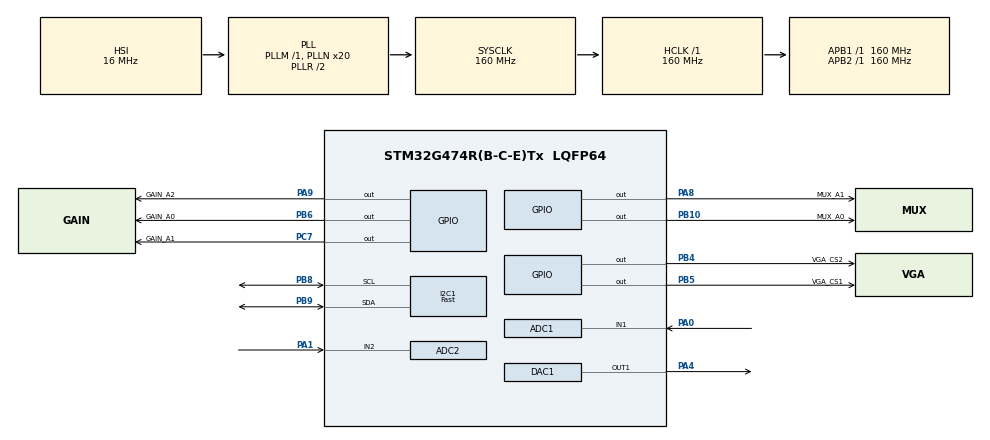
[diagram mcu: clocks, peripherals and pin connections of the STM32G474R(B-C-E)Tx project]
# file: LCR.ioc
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ADC1.Channel-0\#ChannelRegularConversion=ADC_CHANNEL_1
ADC1.DMAAccessModeView=ENABLE
ADC1.DMAContinuousRequests=ENABLE
ADC1.ExternalTrigConv=ADC_EXTERNALTRIG_T6_TRGO
ADC1.Mode=ADC_DUALMODE_REGSIMULT
ADC1.NbrOfConversionFlag=1
ADC1.OffsetNumber-0\#ChannelRegularConversion=ADC_OFFSET_NONE
ADC1.Rank-0\#ChannelRegularConversion=1
ADC1.SamplingTime-0\#ChannelRegularConversion=ADC_SAMPLETIME_24CYCLES_5
ADC1.master=1
ADC2.Channel-0\#ChannelRegularConversion=ADC_CHANNEL_2
ADC2.DMAAccessModeView=ENABLE
ADC2.Mode=ADC_DUALMODE_REGSIMULT
ADC2.NbrOfConversionFlag=1
ADC2.OffsetNumber-0\#ChannelRegularConversion=ADC_OFFSET_NONE
ADC2.Rank-0\#ChannelRegularConversion=1
ADC2.SamplingTime-0\#ChannelRegularConversion=ADC_SAMPLETIME_24CYCLES_5
DAC1.DAC_Trigger_OUT1-DAC_OUT1=DAC_TRIGGER_T6_TRGO
Dma.ADC1.1.Direction=DMA_PERIPH_TO_MEMORY
Dma.ADC1.1.EventEnable=DISABLE
Dma.ADC1.1.Instance=DMA1_Channel2
Dma.ADC1.1.MemDataAlignment=DMA_MDATAALIGN_WORD
Dma.ADC1.1.MemInc=DMA_MINC_ENABLE
Dma.ADC1.1.Mode=DMA_NORMAL
Dma.ADC1.1.PeriphDataAlignment=DMA_PDATAALIGN_WORD
Dma.ADC1.1.PeriphInc=DMA_PINC_DISABLE
Dma.ADC1.1.Polarity=HAL_DMAMUX_REQ_GEN_RISING
Dma.ADC1.1.Priority=DMA_PRIORITY_VERY_HIGH
Dma.ADC1.1.RequestNumber=1
Dma.ADC1.1.SignalID=NONE
Dma.ADC1.1.SyncEnable=DISABLE
Dma.ADC1.1.SyncPolarity=HAL_DMAMUX_SYNC_NO_EVENT
Dma.ADC1.1.SyncRequestNumber=1
Dma.ADC1.1.SyncSignalID=NONE
Dma.DAC1_CH1.0.Direction=DMA_MEMORY_TO_PERIPH
Dma.DAC1_CH1.0.EventEnable=DISABLE
Dma.DAC1_CH1.0.Instance=DMA1_Channel1
Dma.DAC1_CH1.0.MemDataAlignment=DMA_MDATAALIGN_HALFWORD
Dma.DAC1_CH1.0.MemInc=DMA_MINC_ENABLE
Dma.DAC1_CH1.0.Mode=DMA_CIRCULAR
Dma.DAC1_CH1.0.PeriphDataAlignment=DMA_PDATAALIGN_WORD
Dma.DAC1_CH1.0.PeriphInc=DMA_PINC_DISABLE
Dma.DAC1_CH1.0.Polarity=HAL_DMAMUX_REQ_GEN_RISING
Dma.DAC1_CH1.0.Priority=DMA_PRIORITY_HIGH
Dma.DAC1_CH1.0.RequestNumber=1
Dma.DAC1_CH1.0.SignalID=NONE
Dma.DAC1_CH1.0.SyncEnable=DISABLE
Dma.DAC1_CH1.0.SyncPolarity=HAL_DMAMUX_SYNC_NO_EVENT
Dma.DAC1_CH1.0.SyncRequestNumber=1
Dma.DAC1_CH1.0.SyncSignalID=NONE
Dma.Request0=DAC1_CH1
Dma.Request1=ADC1
I2C1.I2C_Speed_Mode=I2C_Fast
I2C1.Timing=0x10F32A82
Mcu.Family=STM32G4
Mcu.Name=STM32G474R(B-C-E)Tx
Mcu.Package=LQFP64
NUCLEO-G474RE.BUTTON=1
NUCLEO-G474RE.LD2=true
NUCLEO-G474RE.VCP=true
NVIC.DMA1_Channel1_IRQn=true\:0\:0\:false\:false\:true\:false\:true\:true
NVIC.DMA1_Channel2_IRQn=true\:0\:0\:false\:false\:true\:false\:true\:true
NVIC.EXTI15_10_IRQn=true\:0\:0\:false\:false\:true\:false\:true\:true
NVIC.PriorityGroup=NVIC_PRIORITYGROUP_4
PA0.Mode=IN1-Single-Ended
PA0.Signal=ADC1_IN1
PA1.Mode=IN2-Single-Ended
PA1.Signal=ADC2_IN2
PA13.GPIO_Label=T_SWDIO
PA13.Mode=Serial_Wire
PA13.Signal=SYS_JTMS-SWDIO
PA14.GPIO_Label=T_SWCLK
PA14.Mode=Serial_Wire
PA14.Signal=SYS_JTCK-SWCLK
PA2.Signal=LPUART1_TX
PA3.Signal=LPUART1_RX
PA4.Signal=COMP_DAC11_group
PA8.GPIO_Label=MUX_A1
PA8.PinState=GPIO_PIN_SET
PA8.Signal=GPIO_Output
PA9.GPIO_Label=GAIN_A2
PA9.GPIO_ModeDefaultOutputPP=GPIO_MODE_OUTPUT_OD
PA9.GPIO_PuPd=GPIO_NOPULL
PA9.Signal=GPIO_Output
PB10.GPIO_Label=MUX_A0
PB10.PinState=GPIO_PIN_SET
PB10.Signal=GPIO_Output
PB3.GPIO_Label=T_SWO
PB3.Signal=SYS_JTDO-SWO
PB4.GPIO_Label=VGA_CS2
PB4.GPIO_ModeDefaultOutputPP=GPIO_MODE_OUTPUT_OD
PB4.GPIO_PuPd=GPIO_NOPULL
PB4.PinState=GPIO_PIN_SET
PB4.Signal=GPIO_Output
PB5.GPIO_Label=VGA_CS1
PB5.GPIO_ModeDefaultOutputPP=GPIO_MODE_OUTPUT_OD
PB5.GPIO_PuPd=GPIO_NOPULL
PB5.PinState=GPIO_PIN_SET
PB5.Signal=GPIO_Output
PB6.GPIO_Label=GAIN_A0
PB6.GPIO_ModeDefaultOutputPP=GPIO_MODE_OUTPUT_OD
PB6.GPIO_PuPd=GPIO_NOPULL
PB6.Signal=GPIO_Output
PB8-BOOT0.Mode=I2C
PB8-BOOT0.Signal=I2C1_SCL
PB9.Mode=I2C
PB9.Signal=I2C1_SDA
PC14-OSC32_IN.GPIO_Label=RCC_OSC32_IN
PC14-OSC32_IN.Signal=RCC_OSC32_IN
PC15-OSC32_OUT.GPIO_Label=RCC_OSC32_OUT
PC15-OSC32_OUT.Signal=RCC_OSC32_OUT
PC7.GPIO_Label=GAIN_A1
PC7.GPIO_ModeDefaultOutputPP=GPIO_MODE_OUTPUT_OD
PC7.GPIO_PuPd=GPIO_NOPULL
PC7.Signal=GPIO_Output
PF0-OSC_IN.GPIO_Label=RCC_OSC_IN
PF0-OSC_IN.Mode=HSE-External-Oscillator
PF0-OSC_IN.Signal=RCC_OSC_IN
PF1-OSC_OUT.GPIO_Label=RCC_OSC_OUT
PF1-OSC_OUT.Mode=HSE-External-Oscillator
PF1-OSC_OUT.Signal=RCC_OSC_OUT
ProjectManager.HeapSize=0x200
ProjectManager.StackSize=0x400
ProjectManager.TargetToolchain=CMake
RCC.ADC12Freq_Value=160000000
RCC.ADC345Freq_Value=160000000
RCC.AHBFreq_Value=160000000
RCC.APB1Freq_Value=160000000
RCC.APB1TimFreq_Value=160000000
RCC.APB2Freq_Value=160000000
RCC.APB2TimFreq_Value=160000000
RCC.CortexFreq_Value=160000000
RCC.EXTERNAL_CLOCK_VALUE=12288000
RCC.HCLKFreq_Value=160000000
RCC.HSE_VALUE=24000000
RCC.HSI48_VALUE=48000000
RCC.HSI_VALUE=16000000
RCC.LSE_VALUE=32768
RCC.PLLN=20
RCC.RTCClockSelection=RCC_RTCCLKSOURCE_LSE
RCC.SYSCLKFreq_VALUE=160000000
RCC.SYSCLKSource=RCC_SYSCLKSOURCE_PLLCLK
RCC.USBFreq_Value=160000000
RCC.VCOOutputFreq_Value=320000000
SH.COMP_DAC11_group.0=DAC1_OUT1,DAC_OUT1
TIM6.AutoReloadPreload=TIM_AUTORELOAD_PRELOAD_ENABLE
TIM6.PeriodNoDither=499
TIM6.TIM_MasterOutputTrigger=TIM_TRGO_UPDATE
VP_NUCLEO-G474RE_VS_BSP_COMMON.Mode=COMMON
VP_SYS_VS_DBSignals.Mode=DisableDeadBatterySignals
VP_TIM6_VS_ClockSourceINT.Mode=Enable_Timer
board=NUCLEO-G474RE

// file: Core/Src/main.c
/* USER CODE BEGIN Header */
/**
  ******************************************************************************
  * @file           : main.c
  * @brief          : Main program body
  ******************************************************************************
  * @attention
  *
  * Copyright (c) 2026 STMicroelectronics.
  * All rights reserved.
  *
  * This software is licensed under terms that can be found in the LICENSE file
  * in the root directory of this software component.
  * If no LICENSE file comes with this software, it is provided AS-IS.
  *
  ******************************************************************************
  */
/* USER CODE END Header */
#include "main.h"
#include "adc.h"
#include "dac.h"
#include "dma.h"
#include "i2c.h"
#include "tim.h"
#include "gpio.h"

/* USER CODE BEGIN Includes */
#include <math.h>
#include <stdlib.h>

#include "lcr_autorange.h"
#include "lcr_100k_diagnostic.h"
#include "lcr_calibration.h"
#include "lcr_capture.h"
#include "lcr_component.h"
#include "lcr_display.h"
#include "lcr_dsp.h"
#include "lcr_excitation.h"
#include "lcr_impedance.h"
#include "lcr_measurement.h"
#include "lcr_range.h"
#include "lcr_result.h"
#include "lcr_workflow.h"

/* USER CODE END Includes */

/* USER CODE BEGIN PD */
#define LCR_CAPTURE_SETTLING_TIME_MS 10U
#define LCR_INTER_CAPTURE_TIME_MS 2U
#define LCR_PRIMARY_FREQUENCY_HZ 10000U
#define LCR_AMBIGUITY_FREQUENCY_HZ 1000U
#define LCR_INDUCTOR_FREQUENCY_HZ 50000U
#define LCR_INDUCTOR_SUSPECT_MIN_PHASE_MDEG 3000L
#define LCR_INDUCTOR_SUSPECT_MIN_X_MOHM 200L
#define LCR_INDUCTOR_SUSPECT_MAX_Z_MOHM 100000UL
#define LCR_VOLTAGE_THD_LIMIT_MILLIPERCENT 10000U
#define LCR_CURRENT_THD_LIMIT_MILLIPERCENT 10000U
#define LCR_CAPACITIVE_THD_MARGIN_MILLIPERCENT 3000U
#define LCR_CAPACITIVE_THD_MAX_MILLIPERCENT 30000U
#define LCR_CAPACITIVE_PHASE_MIN_MDEG 45000L
#define LCR_CAPACITIVE_PHASE_MAX_MDEG 135000L
#define LCR_INDUCTIVE_THD_MARGIN_MILLIPERCENT 3000U
#define LCR_INDUCTIVE_THD_MAX_MILLIPERCENT 30000U
#define LCR_INDUCTIVE_PHASE_MIN_MDEG (-170000L)
#define LCR_INDUCTIVE_PHASE_MAX_MDEG (-90000L)

#define LCR_QUALITY_VOLTAGE_RAIL       (1UL << 0)
#define LCR_QUALITY_CURRENT_RAIL       (1UL << 1)
#define LCR_QUALITY_VOLTAGE_NO_H1      (1UL << 2)
#define LCR_QUALITY_CURRENT_NO_H1      (1UL << 3)
#define LCR_QUALITY_VOLTAGE_THD_HIGH   (1UL << 4)
#define LCR_QUALITY_CURRENT_THD_HIGH   (1UL << 5)

/* USER CODE END PD */

COM_InitTypeDef BspCOMInit;

/* USER CODE BEGIN PV */
typedef enum
{
  LCR_SECONDARY_NONE = 0,
  LCR_SECONDARY_AMBIGUITY_1KHZ,
  LCR_SECONDARY_INDUCTOR_50KHZ
} LCR_SecondaryMode;

static volatile bool lcr_button_event = false;
static uint32_t lcr_last_button_tick;
static bool lcr_capture_scheduled;
static uint32_t lcr_capture_due_tick;
static uint32_t lcr_capture_deadline_tick;
static LCR_AutorangeSession lcr_autorange_session;
static LCR_MeasurementSession lcr_measurement_session;
static LCR_SecondaryMode lcr_secondary_mode;
static LCR_ImpedanceResult lcr_primary_impedance;
static uint32_t lcr_primary_frequency_hz;

/* USER CODE END PV */

void SystemClock_Config(void);
/* USER CODE BEGIN PFP */
static uint32_t LCR_EvaluateCaptureQuality(
  const LCR_CaptureSummary *summary,
  const LCR_DspCaptureResult *dsp_result,
  uint32_t *voltage_thd_limit_millipercent,
  uint32_t *current_thd_limit_millipercent);
static void LCR_PrintCaptureQuality(
  uint32_t quality_flags,
  const LCR_CaptureSummary *summary,
  const LCR_DspCaptureResult *dsp_result,
  uint32_t voltage_thd_limit_millipercent,
  uint32_t current_thd_limit_millipercent,
  bool autorange_probe);
static void LCR_PrintAutorangeReasons(uint32_t reason_flags);
static void LCR_PrintAutorangeSelection(
  const LCR_AutorangeEvaluation *evaluation);
static void LCR_PrintComponentResult(
  const LCR_ComponentResult *component,
  const char *source);
static void LCR_PrintUint64(uint64_t value);
static void LCR_ScheduleNextCaptureOrFinish(void);
static uint32_t LCR_GetCaptureTimeoutMs(void);
static void LCR_FailWorkflow(LCR_WorkflowError error);
static void LCR_PrintFinalResultSnapshot(void);
static void LCR_UpdateDisplayFromFinalResult(void);
static void LCR_UpdateDisplayMeasuring(uint32_t frequency_hz);
static bool LCR_IsSuspectedInductor(
  const LCR_ImpedanceResult *impedance);

/* USER CODE END PFP */

/* USER CODE BEGIN 0 */
static uint32_t LCR_GetCaptureTimeoutMs(void)
{
  LCR_ExcitationStatus excitation_status;
  uint64_t sample_rate_hz;
  uint64_t capture_time_ms;
  uint64_t timeout_ms;

  LCR_ExcitationGetStatus(&excitation_status);
  sample_rate_hz =
    (uint64_t)excitation_status.actual_frequency_hz *
    excitation_status.samples_per_period;
  if (sample_rate_hz == 0ULL)
  {
    return 1000U;
  }

  capture_time_ms =
    ((1000ULL * LCR_CAPTURE_SAMPLE_COUNT) + sample_rate_hz - 1ULL) /
    sample_rate_hz;
  timeout_ms = (capture_time_ms * 4ULL) + 20ULL;
  if (timeout_ms < 50ULL)
  {
    timeout_ms = 50ULL;
  }
  else if (timeout_ms > 1000ULL)
  {
    timeout_ms = 1000ULL;
  }
  return (uint32_t)timeout_ms;
}

static bool LCR_IsSuspectedInductor(
  const LCR_ImpedanceResult *impedance)
{
  return (impedance != NULL) && impedance->valid &&
         (impedance->reactance_milliohms >=
          LCR_INDUCTOR_SUSPECT_MIN_X_MOHM) &&
         (impedance->phase_millidegrees >=
          LCR_INDUCTOR_SUSPECT_MIN_PHASE_MDEG) &&
         (impedance->magnitude_milliohms <=
          LCR_INDUCTOR_SUSPECT_MAX_Z_MOHM);
}

static void LCR_FailWorkflow(LCR_WorkflowError error)
{
  LCR_MeasurementSummary measurement_summary;
  LCR_ExcitationStatus excitation_status;
  LCR_WorkflowStatus workflow_status;
  const uint32_t autorange_probe_count = lcr_autorange_session.probe_count;
  const HAL_StatusTypeDef capture_abort_status = LCR_CaptureAbort();
  const HAL_StatusTypeDef excitation_stop_status = LCR_ExcitationStop();

  LCR_MeasurementGetSummary(&lcr_measurement_session, &measurement_summary);
  LCR_ExcitationGetStatus(&excitation_status);
  LCR_ResultStoreMeasurement(
    LCR_WorkflowIsConfirmation(),
    excitation_status.actual_frequency_hz,
    autorange_probe_count,
    &measurement_summary);
  LCR_ResultFail(error);
  lcr_capture_scheduled = false;
  lcr_capture_deadline_tick = 0U;
  LCR_MeasurementCancel(&lcr_measurement_session);
  LCR_AutorangeCancel(&lcr_autorange_session);
  lcr_secondary_mode = LCR_SECONDARY_NONE;
  BSP_LED_Off(LED_GREEN);
  LCR_WorkflowFail(error);
  LCR_WorkflowGetStatus(&workflow_status);
  printf("[LCR] measurement state=%s; code=%s; capture_abort_HAL=%u; excitation_stop_HAL=%u\r\n",
         LCR_WorkflowStateName(workflow_status.state),
         LCR_WorkflowErrorName(workflow_status.last_error),
         (unsigned int)capture_abort_status,
         (unsigned int)excitation_stop_status);
  printf("[LCR] terminal context retained: completed_attempts=%lu eligible=%lu ineligible=%lu autorange_probes=%lu; any incomplete DMA capture is explicitly excluded\r\n",
         (unsigned long)measurement_summary.attempt_count,
         (unsigned long)measurement_summary.eligible_count,
         (unsigned long)measurement_summary.ineligible_count,
         (unsigned long)autorange_probe_count);
  LCR_PrintFinalResultSnapshot();
  LCR_UpdateDisplayFromFinalResult();
}

static void LCR_PrintFinalResultSnapshot(void)
{
  LCR_FinalResult result;

  LCR_ResultGet(&result);
  printf("[LCR] result snapshot: seq=%lu state=%s error=%s primary=%s secondary=%s component=%s\r\n",
         (unsigned long)result.sequence_id,
         LCR_ResultStateName(result.state),
         LCR_WorkflowErrorName(result.error),
         result.primary.present ? "yes" : "no",
         result.secondary.present ? "yes" : "no",
         result.component_valid ? "yes" : "no");
}

static void LCR_UpdateDisplayFromFinalResult(void)
{
  LCR_FinalResult result;
  HAL_StatusTypeDef display_status;

  if (!LCR_DisplayIsReady())
  {
    return;
  }

  LCR_ResultGet(&result);
  display_status = LCR_DisplayShowResult(&result);
  if (display_status != HAL_OK)
  {
    printf("[LCR] OLED final-screen update failed: HAL=%u\r\n",
           (unsigned int)display_status);
  }
}

static void LCR_UpdateDisplayMeasuring(uint32_t frequency_hz)
{
  HAL_StatusTypeDef display_status;

  if (!LCR_DisplayIsReady())
  {
    return;
  }

  display_status = LCR_DisplayShowMeasuring(frequency_hz);
  if (display_status != HAL_OK)
  {
    printf("[LCR] OLED measuring-screen update failed: HAL=%u\r\n",
           (unsigned int)display_status);
  }
}

static uint32_t LCR_EvaluateCaptureQuality(
  const LCR_CaptureSummary *summary,
  const LCR_DspCaptureResult *dsp_result,
  uint32_t *voltage_thd_limit_millipercent,
  uint32_t *current_thd_limit_millipercent)
{
  uint32_t flags = 0U;
  uint32_t voltage_thd_limit = LCR_VOLTAGE_THD_LIMIT_MILLIPERCENT;
  uint32_t current_thd_limit = LCR_CURRENT_THD_LIMIT_MILLIPERCENT;
  LCR_RangeStatus range_status;

  LCR_RangeGetStatus(&range_status);

  /*
   * A capacitor differentiates the excitation waveform.  Its nth current
   * harmonic is therefore expected to be about n times the corresponding
   * voltage harmonic.  A fixed resistor-oriented I-THD limit would reject a
   * physically consistent capacitive waveform (observed at 10 nF: V THD
   * about 7.5%, I THD about 17.5%).  Derive a bounded allowance only when the
   * measured V/I phase is clearly capacitive; resistive and inductive samples
   * retain the original 10% limit, preserving rejection of bad resistor data.
   */
  if (dsp_result->voltage.fundamental_valid &&
      dsp_result->current.fundamental_valid &&
      (dsp_result->voltage_minus_current_millidegrees >=
       LCR_CAPACITIVE_PHASE_MIN_MDEG) &&
      (dsp_result->voltage_minus_current_millidegrees <=
       LCR_CAPACITIVE_PHASE_MAX_MDEG))
  {
    float expected_harmonic_power = 0.0f;
    uint32_t harmonic;

    for (harmonic = 2U; harmonic <= LCR_DSP_MAX_HARMONIC; ++harmonic)
    {
      const float expected_ratio =
        (float)harmonic *
        (float)dsp_result->voltage.harmonic_ratio_millipercent[harmonic];

      expected_harmonic_power += expected_ratio * expected_ratio;
    }
    {
      const uint32_t expected_thd =
        (uint32_t)(sqrtf(expected_harmonic_power) + 0.5f);
      uint32_t derived_limit = expected_thd +
        LCR_CAPACITIVE_THD_MARGIN_MILLIPERCENT;

      if (derived_limit < LCR_CURRENT_THD_LIMIT_MILLIPERCENT)
      {
        derived_limit = LCR_CURRENT_THD_LIMIT_MILLIPERCENT;
      }
      if (derived_limit > LCR_CAPACITIVE_THD_MAX_MILLIPERCENT)
      {
        derived_limit = LCR_CAPACITIVE_THD_MAX_MILLIPERCENT;
      }
      current_thd_limit = derived_limit;
    }
  }

  /*
   * An inductor differentiates current into terminal voltage.  On the
   * preferred low-impedance 100 ohm/1 kOhm feedback profiles, the nth voltage harmonic is
   * therefore expected to be about n times the corresponding current
   * harmonic.  Apply the symmetric bounded allowance only when the raw
   * bridge phase is clearly inductive; this keeps resistor profiles on the
   * original 10% V-THD limit.
   */
  if (((range_status.feedback_range == LCR_FEEDBACK_100_OHM) ||
       (range_status.feedback_range == LCR_FEEDBACK_1K_OHM)) &&
      dsp_result->voltage.fundamental_valid &&
      dsp_result->current.fundamental_valid &&
      (dsp_result->voltage_minus_current_millidegrees >=
       LCR_INDUCTIVE_PHASE_MIN_MDEG) &&
      (dsp_result->voltage_minus_current_millidegrees <=
       LCR_INDUCTIVE_PHASE_MAX_MDEG))
  {
    float expected_harmonic_power = 0.0f;
    uint32_t harmonic;

    for (harmonic = 2U; harmonic <= LCR_DSP_MAX_HARMONIC; ++harmonic)
    {
      const float expected_ratio =
        (float)harmonic *
        (float)dsp_result->current.harmonic_ratio_millipercent[harmonic];

      expected_harmonic_power += expected_ratio * expected_ratio;
    }
    {
      const uint32_t expected_thd =
        (uint32_t)(sqrtf(expected_harmonic_power) + 0.5f);
      uint32_t derived_limit = expected_thd +
        LCR_INDUCTIVE_THD_MARGIN_MILLIPERCENT;

      if (derived_limit < LCR_VOLTAGE_THD_LIMIT_MILLIPERCENT)
      {
        derived_limit = LCR_VOLTAGE_THD_LIMIT_MILLIPERCENT;
      }
      if (derived_limit > LCR_INDUCTIVE_THD_MAX_MILLIPERCENT)
      {
        derived_limit = LCR_INDUCTIVE_THD_MAX_MILLIPERCENT;
      }
      voltage_thd_limit = derived_limit;
    }
  }

  if (voltage_thd_limit_millipercent != NULL)
  {
    *voltage_thd_limit_millipercent = voltage_thd_limit;
  }

  if (current_thd_limit_millipercent != NULL)
  {
    *current_thd_limit_millipercent = current_thd_limit;
  }

  if (summary->voltage.near_rail_count != 0U)
  {
    flags |= LCR_QUALITY_VOLTAGE_RAIL;
  }
  if (summary->current.near_rail_count != 0U)
  {
    flags |= LCR_QUALITY_CURRENT_RAIL;
  }
  if (!dsp_result->voltage.fundamental_valid)
  {
    flags |= LCR_QUALITY_VOLTAGE_NO_H1;
  }
  if (!dsp_result->current.fundamental_valid)
  {
    flags |= LCR_QUALITY_CURRENT_NO_H1;
  }
  if (dsp_result->voltage.fundamental_valid &&
      (dsp_result->voltage.thd_millipercent >
       voltage_thd_limit))
  {
    flags |= LCR_QUALITY_VOLTAGE_THD_HIGH;
  }
  if (dsp_result->current.fundamental_valid &&
      (dsp_result->current.thd_millipercent >
       current_thd_limit))
  {
    flags |= LCR_QUALITY_CURRENT_THD_HIGH;
  }

  return flags;
}

static void LCR_PrintCaptureQuality(
  uint32_t quality_flags,
  const LCR_CaptureSummary *summary,
  const LCR_DspCaptureResult *dsp_result,
  uint32_t voltage_thd_limit_millipercent,
  uint32_t current_thd_limit_millipercent,
  bool autorange_probe)
{
  if (quality_flags == 0U)
  {
    if (autorange_probe)
    {
      printf("[LCR] sample quality=VALID; retained=yes; eligible_for_average=no; reason=AUTORANGE_PROBE\r\n");
    }
    else
    {
      printf("[LCR] sample quality=VALID; retained=yes; eligible_for_average=yes\r\n");
    }
    if (current_thd_limit_millipercent >
        LCR_CURRENT_THD_LIMIT_MILLIPERCENT)
    {
      printf("[LCR] quality model=CAPACITIVE_HARMONIC; I_THD limit=%lu.%03lu%% derived from V harmonics plus margin\r\n",
             (unsigned long)(current_thd_limit_millipercent / 1000U),
             (unsigned long)(current_thd_limit_millipercent % 1000U));
    }
    if (voltage_thd_limit_millipercent >
        LCR_VOLTAGE_THD_LIMIT_MILLIPERCENT)
    {
      printf("[LCR] quality model=INDUCTIVE_HARMONIC; V_THD limit=%lu.%03lu%% derived from I harmonics plus margin\r\n",
             (unsigned long)(voltage_thd_limit_millipercent / 1000U),
             (unsigned long)(voltage_thd_limit_millipercent % 1000U));
    }
    return;
  }

  printf("[LCR] sample quality=SUSPECT; retained=yes; eligible_for_average=no\r\n");
  printf("[LCR] quality reasons:");
  if ((quality_flags & LCR_QUALITY_VOLTAGE_RAIL) != 0U)
  {
    printf(" V_RAIL(samples=%lu)",
           (unsigned long)summary->voltage.near_rail_count);
  }
  if ((quality_flags & LCR_QUALITY_CURRENT_RAIL) != 0U)
  {
    printf(" I_RAIL(samples=%lu)",
           (unsigned long)summary->current.near_rail_count);
  }
  if ((quality_flags & LCR_QUALITY_VOLTAGE_NO_H1) != 0U)
  {
    printf(" V_H1_INVALID");
  }
  if ((quality_flags & LCR_QUALITY_CURRENT_NO_H1) != 0U)
  {
    printf(" I_H1_INVALID");
  }
  if ((quality_flags & LCR_QUALITY_VOLTAGE_THD_HIGH) != 0U)
  {
    printf(" V_THD=%lu.%03lu%%>%lu.%03lu%%",
           (unsigned long)(dsp_result->voltage.thd_millipercent / 1000U),
           (unsigned long)(dsp_result->voltage.thd_millipercent % 1000U),
           (unsigned long)(voltage_thd_limit_millipercent / 1000U),
           (unsigned long)(voltage_thd_limit_millipercent % 1000U));
  }
  if ((quality_flags & LCR_QUALITY_CURRENT_THD_HIGH) != 0U)
  {
    printf(" I_THD=%lu.%03lu%%>%lu.%03lu%%",
           (unsigned long)(dsp_result->current.thd_millipercent / 1000U),
           (unsigned long)(dsp_result->current.thd_millipercent % 1000U),
           (unsigned long)(current_thd_limit_millipercent / 1000U),
           (unsigned long)(current_thd_limit_millipercent % 1000U));
  }
  printf("\r\n");
}

static void LCR_PrintAutorangeReasons(uint32_t reason_flags)
{
  printf("[LCR] autorange reasons:");
  if ((reason_flags & LCR_AUTORANGE_REASON_V_LOW) != 0U)
  {
    printf(" V_TOO_LOW");
  }
  if ((reason_flags & LCR_AUTORANGE_REASON_V_HIGH) != 0U)
  {
    printf(" V_TOO_HIGH");
  }
  if ((reason_flags & LCR_AUTORANGE_REASON_I_LOW) != 0U)
  {
    printf(" I_TOO_LOW");
  }
  if ((reason_flags & LCR_AUTORANGE_REASON_I_HIGH) != 0U)
  {
    printf(" I_TOO_HIGH");
  }
  if ((reason_flags & LCR_AUTORANGE_REASON_V_LIMIT) != 0U)
  {
    printf(" V_RANGE_LIMIT");
  }
  if ((reason_flags & LCR_AUTORANGE_REASON_I_LIMIT) != 0U)
  {
    printf(" I_RANGE_LIMIT_OR_OPEN");
  }
  if ((reason_flags & LCR_AUTORANGE_REASON_APPLY_FAILED) != 0U)
  {
    printf(" RANGE_APPLY_FAILED");
  }
  if ((reason_flags & LCR_AUTORANGE_REASON_MAX_ADJUSTMENT) != 0U)
  {
    printf(" MAX_ADJUSTMENTS");
  }
  if ((reason_flags & LCR_AUTORANGE_REASON_V_THD_HIGH) != 0U)
  {
    printf(" V_THD_HIGH");
  }
  if ((reason_flags & LCR_AUTORANGE_REASON_I_THD_HIGH) != 0U)
  {
    printf(" I_THD_HIGH");
  }
  if (reason_flags == 0U)
  {
    printf(" SIGNALS_IN_WINDOW");
  }
  printf("\r\n");
}

static void LCR_PrintAutorangeSelection(
  const LCR_AutorangeEvaluation *evaluation)
{
  const LCR_FeedbackNetwork *previous_feedback = LCR_GetFeedbackNetwork(
    evaluation->previous_range.feedback_range);
  const LCR_FeedbackNetwork *selected_feedback = LCR_GetFeedbackNetwork(
    evaluation->selected_range.feedback_range);

  if ((previous_feedback == NULL) || (selected_feedback == NULL))
  {
    return;
  }

  printf("[LCR] autorange selection: feedback %lu->%lu ohm, V gain %lu->%lu, I gain %lu->%lu, amplitude %u->%u\r\n",
         (unsigned long)previous_feedback->resistance_ohms,
         (unsigned long)selected_feedback->resistance_ohms,
         (unsigned long)LCR_GetPgaGainValue(
           evaluation->previous_range.voltage_gain),
         (unsigned long)LCR_GetPgaGainValue(
           evaluation->selected_range.voltage_gain),
         (unsigned long)LCR_GetPgaGainValue(
           evaluation->previous_range.current_gain),
         (unsigned long)LCR_GetPgaGainValue(
           evaluation->selected_range.current_gain),
         (unsigned int)evaluation->previous_amplitude,
         (unsigned int)evaluation->selected_amplitude);
}

static void LCR_PrintComponentResult(
  const LCR_ComponentResult *component,
  const char *source)
{
  if ((component == NULL) || (source == NULL))
  {
    return;
  }

  if (component->type == LCR_COMPONENT_RESISTOR)
  {
    printf("[LCR] component result: type=R, R=%ld.%03lu ohm, f=%lu Hz, source=%s\r\n",
           (long)(component->series_resistance_milliohms / 1000L),
           (unsigned long)labs(
             component->series_resistance_milliohms % 1000L),
           (unsigned long)component->parameter_frequency_hz,
           source);
  }
  else if (component->type == LCR_COMPONENT_CAPACITOR)
  {
    printf("[LCR] component result: type=C, C=");
    LCR_PrintUint64(component->capacitance_picofarads);
    printf(" pF, ESR=%ld.%03lu ohm, f=%lu Hz, source=%s\r\n",
           (long)(component->series_resistance_milliohms / 1000L),
           (unsigned long)labs(
             component->series_resistance_milliohms % 1000L),
           (unsigned long)component->parameter_frequency_hz,
           source);
  }
  else if (component->type == LCR_COMPONENT_INDUCTOR)
  {
    printf("[LCR] component result: type=L, L=");
    LCR_PrintUint64(component->inductance_nanohenries);
    printf(" nH, series_R=%ld.%03lu ohm, f=%lu Hz, source=%s\r\n",
           (long)(component->series_resistance_milliohms / 1000L),
           (unsigned long)labs(
             component->series_resistance_milliohms % 1000L),
           (unsigned long)component->parameter_frequency_hz,
           source);
  }
  else
  {
    printf("[LCR] component result: type=UNKNOWN, source=%s; ambiguity remains\r\n",
           source);
  }
}

static void LCR_PrintUint64(uint64_t value)
{
  char decimal[21];
  uint32_t index = sizeof(decimal) - 1U;

  decimal[index] = '\0';
  do
  {
    decimal[--index] = (char)('0' + (value % 10ULL));
    value /= 10ULL;
  }
  while ((value != 0ULL) && (index != 0U));
  printf("%s", &decimal[index]);
}

static void LCR_ScheduleNextCaptureOrFinish(void)
{
  if (LCR_MeasurementIsComplete(&lcr_measurement_session))
  {
    LCR_MeasurementSummary measurement_summary;
    const HAL_StatusTypeDef stop_status = LCR_ExcitationStop();
    bool confirmation_started = false;

    LCR_MeasurementGetSummary(
      &lcr_measurement_session,
      &measurement_summary);
    lcr_capture_scheduled = false;
    BSP_LED_Off(LED_GREEN);
    printf("[LCR] measurement summary: attempts=%lu eligible=%lu ineligible=%lu retained=%lu outliers=%lu\r\n",
           (unsigned long)measurement_summary.attempt_count,
           (unsigned long)measurement_summary.eligible_count,
           (unsigned long)measurement_summary.ineligible_count,
           (unsigned long)measurement_summary.retained_count,
           (unsigned long)measurement_summary.outlier_count);
    if (stop_status != HAL_OK)
    {
      printf("[LCR] excitation stop failed at measurement boundary: HAL=%u\r\n",
             (unsigned int)stop_status);
      LCR_FailWorkflow(LCR_WORKFLOW_ERROR_EXCITATION_CONTROL);
      return;
    }
    if (!measurement_summary.average_valid)
    {
      printf("[LCR] average unavailable: fewer than %u valid samples in %u attempts, or too few samples remained after outlier rejection\r\n",
             (unsigned int)LCR_MEASUREMENT_MIN_VALID_COUNT,
             (unsigned int)LCR_MEASUREMENT_MAX_ATTEMPT_COUNT);
      if (lcr_secondary_mode != LCR_SECONDARY_NONE)
      {
        printf("[LCR] multi-frequency confirmation unavailable because secondary average is invalid\r\n");
        LCR_FailWorkflow(LCR_WORKFLOW_ERROR_CONFIRMATION_INVALID);
      }
      else
      {
        LCR_FailWorkflow(LCR_WORKFLOW_ERROR_NO_ELIGIBLE_SAMPLES);
      }
      return;
    }
    else
    {
      LCR_ExcitationStatus excitation_status;
      LCR_ComponentResult component;

      printf("[LCR] average %s Z: R=%ld.%03lu ohm, X=%ld.%03lu ohm, |Z|=%lu.%03lu ohm, phase=%ld.%03lu deg\r\n",
             measurement_summary.average_is_calibrated ?
               "CALIBRATED" : "RAW/UNCALIBRATED",
             (long)(measurement_summary.average.resistance_milliohms / 1000L),
             (unsigned long)labs(
               measurement_summary.average.resistance_milliohms % 1000L),
             (long)(measurement_summary.average.reactance_milliohms / 1000L),
             (unsigned long)labs(
               measurement_summary.average.reactance_milliohms % 1000L),
             (unsigned long)(measurement_summary.average.magnitude_milliohms / 1000U),
             (unsigned long)(measurement_summary.average.magnitude_milliohms % 1000U),
              (long)(measurement_summary.average.phase_millidegrees / 1000L),
              (unsigned long)labs(
                measurement_summary.average.phase_millidegrees % 1000L));
      LCR_ExcitationGetStatus(&excitation_status);
      LCR_ResultStoreMeasurement(
        lcr_secondary_mode != LCR_SECONDARY_NONE,
        excitation_status.actual_frequency_hz,
        lcr_autorange_session.probe_count,
        &measurement_summary);
      if (LCR_ComponentClassify(
            &measurement_summary.average,
            excitation_status.actual_frequency_hz,
            &component) == HAL_OK)
      {
        LCR_PrintComponentResult(
          &component,
          (lcr_secondary_mode != LCR_SECONDARY_NONE) ?
            "secondary-valid-sample-average" :
            "primary-valid-sample-average");

        if (lcr_secondary_mode == LCR_SECONDARY_INDUCTOR_50KHZ)
        {
          if ((component.type != LCR_COMPONENT_INDUCTOR) ||
              !component.parameter_valid ||
              (component.parameter_frequency_hz !=
               LCR_INDUCTOR_FREQUENCY_HZ))
          {
            printf("[LCR] 50 kHz formal measurement did not confirm an inductor\r\n");
            LCR_FailWorkflow(LCR_WORKFLOW_ERROR_CONFIRMATION_INVALID);
            return;
          }

          printf("[LCR] inductor result accepted from 50 kHz formal measurement; 10 kHz data was coarse-detection only\r\n");
          LCR_ResultComplete(&component);
          lcr_secondary_mode = LCR_SECONDARY_NONE;
        }
        else if (lcr_secondary_mode == LCR_SECONDARY_AMBIGUITY_1KHZ)
        {
          LCR_ComponentResult confirmed_component;

          printf("[LCR] multi-frequency pair: primary=%lu Hz, secondary=%lu Hz\r\n",
                 (unsigned long)lcr_primary_frequency_hz,
                 (unsigned long)excitation_status.actual_frequency_hz);
          if (LCR_ComponentConfirm(
                &lcr_primary_impedance,
                lcr_primary_frequency_hz,
                &measurement_summary.average,
                excitation_status.actual_frequency_hz,
                &confirmed_component) == HAL_OK)
          {
            LCR_PrintComponentResult(
              &confirmed_component,
              "two-frequency-consistency-check");
            LCR_ResultComplete(&confirmed_component);
          }
          else
          {
            printf("[LCR] multi-frequency confirmation calculation failed\r\n");
            LCR_FailWorkflow(LCR_WORKFLOW_ERROR_CONFIRMATION_INVALID);
            return;
          }
          lcr_secondary_mode = LCR_SECONDARY_NONE;
        }
        else if ((stop_status == HAL_OK) &&
                 (LCR_IsSuspectedInductor(
                    &measurement_summary.average) ||
                  ((component.type == LCR_COMPONENT_UNKNOWN) &&
                   (excitation_status.actual_frequency_hz !=
                    LCR_AMBIGUITY_FREQUENCY_HZ))))
        {
          HAL_StatusTypeDef confirmation_status;
          uint32_t secondary_frequency_hz;

          lcr_primary_impedance = measurement_summary.average;
          lcr_primary_frequency_hz =
            excitation_status.actual_frequency_hz;
          if (LCR_IsSuspectedInductor(&measurement_summary.average))
          {
            lcr_secondary_mode = LCR_SECONDARY_INDUCTOR_50KHZ;
            secondary_frequency_hz = LCR_INDUCTOR_FREQUENCY_HZ;
            printf("[LCR] 10 kHz coarse result is inductive; starting dedicated 50 kHz formal measurement\r\n");
          }
          else
          {
            lcr_secondary_mode = LCR_SECONDARY_AMBIGUITY_1KHZ;
            secondary_frequency_hz = LCR_AMBIGUITY_FREQUENCY_HZ;
          }
          confirmation_status = LCR_SetFrequency(
            secondary_frequency_hz);
          if (confirmation_status == HAL_OK)
          {
            confirmation_status = LCR_AutorangeBegin(
              &lcr_autorange_session);
          }
          if (confirmation_status == HAL_OK)
          {
            confirmation_status = LCR_ExcitationStart();
          }

          if (confirmation_status == HAL_OK)
          {
            LCR_ExcitationStatus confirmation_excitation;

            LCR_WorkflowBeginConfirmation();
            LCR_ExcitationGetStatus(&confirmation_excitation);
            LCR_UpdateDisplayMeasuring(
              confirmation_excitation.actual_frequency_hz);
            BSP_LED_On(LED_GREEN);
            lcr_capture_due_tick =
              HAL_GetTick() + LCR_CAPTURE_SETTLING_TIME_MS;
            lcr_capture_scheduled = true;
            confirmation_started = true;
            printf("[LCR] starting automatic %lu Hz secondary measurement\r\n",
                   (unsigned long)confirmation_excitation.actual_frequency_hz);
            printf("[LCR] confirmation autorange probe scheduled after %u ms settling\r\n",
                   (unsigned int)LCR_CAPTURE_SETTLING_TIME_MS);
          }
          else
          {
            printf("[LCR] automatic frequency confirmation start failed: HAL=%u\r\n",
                   (unsigned int)confirmation_status);
            LCR_FailWorkflow(LCR_WORKFLOW_ERROR_CONFIRMATION_START);
            return;
          }
        }
        else
        {
          LCR_ResultComplete(&component);
        }
      }
      else
      {
        printf("[LCR] component classification unavailable\r\n");
        LCR_FailWorkflow(
          (lcr_secondary_mode != LCR_SECONDARY_NONE) ?
            LCR_WORKFLOW_ERROR_CONFIRMATION_INVALID :
            LCR_WORKFLOW_ERROR_DFT);
        return;
      }
    }
    if (confirmation_started)
    {
      return;
    }
    LCR_WorkflowComplete();
    {
      LCR_WorkflowStatus workflow_status;

      LCR_WorkflowGetStatus(&workflow_status);
      printf("[LCR] measurement state=%s; code=%s\r\n",
             LCR_WorkflowStateName(workflow_status.state),
             LCR_WorkflowErrorName(workflow_status.last_error));
    }
    LCR_PrintFinalResultSnapshot();
    LCR_UpdateDisplayFromFinalResult();
    printf("[LCR] excitation stopped automatically: HAL=%u\r\n",
           (unsigned int)stop_status);
  }
  else if (LCR_MeasurementIsActive(&lcr_measurement_session))
  {
    lcr_capture_due_tick = HAL_GetTick() + LCR_INTER_CAPTURE_TIME_MS;
    lcr_capture_scheduled = true;
    printf("[LCR] next capture scheduled after %u ms\r\n",
           (unsigned int)LCR_INTER_CAPTURE_TIME_MS);
  }
}

/* USER CODE END 0 */

int main(void)
{

  /* MCU Configuration--------------------------------------------------------*/

  /* Reset of all peripherals, Initializes the Flash interface and the Systick. */
  HAL_Init();

  /* Configure the system clock */
  SystemClock_Config();

  /* Initialize all configured peripherals */
  MX_GPIO_Init();
  MX_DMA_Init();
  MX_DAC1_Init();
  MX_ADC1_Init();
  MX_ADC2_Init();
  MX_TIM6_Init();
  MX_I2C1_Init();

  /* Initialize led */
  BSP_LED_Init(LED_GREEN);

  /* Initialize USER push-button, will be used to trigger an interrupt each time it's pressed.*/
  BSP_PB_Init(BUTTON_USER, BUTTON_MODE_EXTI);

  /* Initialize COM1 port (115200, 8 bits (7-bit data + 1 stop bit), no parity */
  BspCOMInit.BaudRate   = 115200;
  BspCOMInit.WordLength = COM_WORDLENGTH_8B;
  BspCOMInit.StopBits   = COM_STOPBITS_1;
  BspCOMInit.Parity     = COM_PARITY_NONE;
  BspCOMInit.HwFlowCtl  = COM_HWCONTROL_NONE;
  if (BSP_COM_Init(COM1, &BspCOMInit) != BSP_ERROR_NONE)
  {
    Error_Handler();
  }

  /* Infinite loop */
  /* USER CODE BEGIN WHILE */
  if (LCR_ExcitationInit() != HAL_OK)
  {
    printf("\r\n[LCR] excitation initialization failed\r\n");
    Error_Handler();
  }
  if (LCR_RangeInit() != HAL_OK)
  {
    printf("\r\n[LCR] range initialization failed\r\n");
    Error_Handler();
  }
  if (LCR_CaptureInit() != HAL_OK)
  {
    printf("\r\n[LCR] ADC calibration failed: error=0x%08lX\r\n",
           (unsigned long)LCR_CaptureGetLastError());
    Error_Handler();
  }
  if (LCR_SelectFeedbackRange(LCR_FEEDBACK_100_OHM) != HAL_OK)
  {
    printf("\r\n[LCR] safe 100 ohm feedback selection failed\r\n");
    Error_Handler();
  }
  if (LCR_SetCurrentGain(LCR_PGA_GAIN_1X) != HAL_OK)
  {
    printf("\r\n[LCR] current PGA 1x selection failed\r\n");
    Error_Handler();
  }
  LCR_WorkflowInit();
  LCR_ResultInit();
  (void)LCR_100kDiagnosticRun(false);
  {
    LCR_DisplayProbeStatus display_probe;

    if (LCR_DisplayProbe(&display_probe) == HAL_OK)
    {
      if (display_probe.detected_address_7bit != 0U)
      {
        const HAL_StatusTypeDef display_init_status = LCR_DisplayInit(
          display_probe.detected_address_7bit);
        HAL_StatusTypeDef display_ready_status = HAL_ERROR;

        if (display_init_status == HAL_OK)
        {
          display_ready_status = LCR_DisplayShowReady();
        }
        printf("[LCR] OLED at 0x%02X: SSD1306 128x64 init HAL=%u, ready screen HAL=%u\r\n",
               (unsigned int)display_probe.detected_address_7bit,
               (unsigned int)display_init_status,
               (unsigned int)display_ready_status);
      }
      else
      {
        printf("[LCR] OLED I2C probe: no response at 0x3C or 0x3D; display remains disabled\r\n");
      }
    }
    else
    {
      printf("[LCR] OLED I2C probe failed; display remains disabled\r\n");
    }
  }

  lcr_last_button_tick = HAL_GetTick() - 200U;
  BSP_LED_Off(LED_GREEN);
  {
    LCR_ExcitationStatus status;
    LCR_RangeStatus range_status;
    const LCR_FeedbackNetwork *feedback;

    LCR_ExcitationGetStatus(&status);
    LCR_RangeGetStatus(&range_status);
    feedback = LCR_GetFeedbackNetwork(range_status.feedback_range);
    printf("\r\n[LCR] stage 3 DFT self-test ready\r\n");
    printf("[LCR] DAC=PA4, points=%lu, requested=%lu Hz, actual=%lu Hz, amplitude=%u counts\r\n",
           (unsigned long)status.samples_per_period,
           (unsigned long)status.requested_frequency_hz,
           (unsigned long)status.actual_frequency_hz,
           (unsigned int)status.amplitude);
    printf("[LCR] feedback=%lu ohm // %lu.%lu pF, V gain=%lu, I gain=%lu\r\n",
           (unsigned long)feedback->resistance_ohms,
           (unsigned long)(feedback->capacitance_tenths_pf / 10U),
           (unsigned long)(feedback->capacitance_tenths_pf % 10U),
           (unsigned long)LCR_GetPgaGainValue(range_status.voltage_gain),
           (unsigned long)LCR_GetPgaGainValue(range_status.current_gain));
    printf("[LCR] ADC mapping: low16=ADC1/PA0/V_AMP, high16=ADC2/PA1/I_AMP\r\n");
    printf("[LCR] autorange H1 target=%lu.%03lu..%lu.%03lu counts; p2p auxiliary low=%u, clip=%u; max adjustments=%u\r\n",
           (unsigned long)(LCR_AUTORANGE_MIN_H1_MILLI_COUNTS / 1000U),
           (unsigned long)(LCR_AUTORANGE_MIN_H1_MILLI_COUNTS % 1000U),
           (unsigned long)(LCR_AUTORANGE_MAX_H1_MILLI_COUNTS / 1000U),
           (unsigned long)(LCR_AUTORANGE_MAX_H1_MILLI_COUNTS % 1000U),
           (unsigned int)LCR_AUTORANGE_MIN_AUX_P2P_COUNTS,
           (unsigned int)LCR_AUTORANGE_MAX_P2P_COUNTS,
           (unsigned int)LCR_AUTORANGE_MAX_ADJUSTMENTS);
    printf("[LCR] general autorange current PGA maximum=%lux; all four feedback profiles remain candidates at every measurement frequency\r\n",
           (unsigned long)LCR_GetPgaGainValue(
             LCR_AUTORANGE_MAX_CURRENT_GAIN));
    printf("[LCR] frequency profiles: 1/10 kHz use 64 points; up to 25 kHz use 32; 50 kHz high-frequency profile uses 16\r\n");
    printf("[LCR] inductor flow: 10 kHz coarse classification, then 50 kHz formal measurement; V/I/R use the common autorange algorithm\r\n");
    printf("[LCR] output is stopped; press PC13 to autorange, then collect %u valid samples in at most %u captures of %u pairs\r\n",
           (unsigned int)LCR_MEASUREMENT_MIN_VALID_COUNT,
           (unsigned int)LCR_MEASUREMENT_MAX_ATTEMPT_COUNT,
           (unsigned int)LCR_CAPTURE_SAMPLE_COUNT);
  }

  while (1)
  {

    /* USER CODE END WHILE */

    /* USER CODE BEGIN 3 */
    if (lcr_button_event)
    {
      const uint32_t now = HAL_GetTick();

      lcr_button_event = false;
      if ((uint32_t)(now - lcr_last_button_tick) >= 150U)
      {
        LCR_ExcitationStatus status;
        HAL_StatusTypeDef operation_status;

        lcr_last_button_tick = now;
        LCR_ExcitationGetStatus(&status);
        if (status.running)
        {
          operation_status = LCR_ExcitationStop();
        }
        else
        {
          lcr_secondary_mode = LCR_SECONDARY_NONE;
          LCR_ResultBegin();
          operation_status = LCR_SetFrequency(
            LCR_PRIMARY_FREQUENCY_HZ);
          if (operation_status == HAL_OK)
          {
            operation_status = LCR_AutorangeBegin(&lcr_autorange_session);
          }
          if (operation_status == HAL_OK)
          {
            operation_status = LCR_ExcitationStart();
          }
        }
        LCR_ExcitationGetStatus(&status);

        if (operation_status == HAL_OK)
        {
          if (status.running)
          {
            LCR_MeasurementCancel(&lcr_measurement_session);
            LCR_WorkflowBeginPrimary();
            LCR_UpdateDisplayMeasuring(status.actual_frequency_hz);
            BSP_LED_On(LED_GREEN);
            lcr_capture_due_tick = now + LCR_CAPTURE_SETTLING_TIME_MS;
            lcr_capture_scheduled = true;
            printf("[LCR] excitation started: %lu Hz, amplitude=%u counts\r\n",
                   (unsigned long)status.actual_frequency_hz,
                   (unsigned int)status.amplitude);
            printf("[LCR] autorange started from feedback=100 ohm, V gain=1, I gain=1\r\n");
            printf("[LCR] autorange probe scheduled after %u ms settling\r\n",
                   (unsigned int)LCR_CAPTURE_SETTLING_TIME_MS);
          }
          else
          {
            LCR_MeasurementSummary measurement_summary;

            lcr_capture_scheduled = false;
            (void)LCR_CaptureAbort();
            BSP_LED_Off(LED_GREEN);
            LCR_MeasurementGetSummary(
              &lcr_measurement_session,
              &measurement_summary);
            LCR_MeasurementCancel(&lcr_measurement_session);
            LCR_AutorangeCancel(&lcr_autorange_session);
            lcr_secondary_mode = LCR_SECONDARY_NONE;
            LCR_ResultStoreMeasurement(
              LCR_WorkflowIsConfirmation(),
              status.actual_frequency_hz,
              lcr_autorange_session.probe_count,
              &measurement_summary);
            LCR_ResultAbort();
            LCR_WorkflowAbort();
            printf("[LCR] measurement aborted by user: attempts=%lu eligible=%lu; autorange_probes=%lu\r\n",
                   (unsigned long)measurement_summary.attempt_count,
                   (unsigned long)measurement_summary.eligible_count,
                   (unsigned long)lcr_autorange_session.probe_count);
            printf("[LCR] measurement state=ABORTED; code=NONE\r\n");
            LCR_PrintFinalResultSnapshot();
            LCR_UpdateDisplayFromFinalResult();
            printf("[LCR] excitation stopped\r\n");
          }
        }
        else
        {
          printf("[LCR] excitation start/stop failed: HAL status=%u\r\n",
                 (unsigned int)operation_status);
          LCR_FailWorkflow(LCR_WORKFLOW_ERROR_AUTORANGE);
        }
      }
    }

    if (lcr_capture_scheduled &&
        ((int32_t)(HAL_GetTick() - lcr_capture_due_tick) >= 0))
    {
      const HAL_StatusTypeDef capture_status = LCR_CaptureStart();

      lcr_capture_scheduled = false;
      if (capture_status == HAL_OK)
      {
        const uint32_t capture_timeout_ms = LCR_GetCaptureTimeoutMs();

        lcr_capture_deadline_tick = HAL_GetTick() + capture_timeout_ms;
        if (LCR_AutorangeIsSearching(&lcr_autorange_session))
        {
          printf("[LCR] autorange probe %lu started; timeout=%lu ms\r\n",
                 (unsigned long)(lcr_autorange_session.probe_count + 1U),
                 (unsigned long)capture_timeout_ms);
        }
        else
        {
          LCR_MeasurementSummary measurement_summary;

          LCR_MeasurementGetSummary(
            &lcr_measurement_session,
            &measurement_summary);
          printf("[LCR] dual ADC capture %lu/%u started; timeout=%lu ms\r\n",
                 (unsigned long)(measurement_summary.attempt_count + 1U),
                 (unsigned int)LCR_MEASUREMENT_MAX_ATTEMPT_COUNT,
                 (unsigned long)capture_timeout_ms);
        }
      }
      else
      {
        printf("[LCR] dual ADC capture start failed: HAL=%u, error=0x%08lX\r\n",
               (unsigned int)capture_status,
               (unsigned long)LCR_CaptureGetLastError());
        LCR_FailWorkflow(LCR_WORKFLOW_ERROR_ADC_START);
      }
    }

    if ((LCR_CaptureGetState() == LCR_CAPTURE_RUNNING) &&
        ((int32_t)(HAL_GetTick() - lcr_capture_deadline_tick) >= 0))
    {
      printf("[LCR] dual ADC capture timed out: deadline=%lu ms, error=0x%08lX\r\n",
             (unsigned long)lcr_capture_deadline_tick,
             (unsigned long)LCR_CaptureGetLastError());
      LCR_FailWorkflow(LCR_WORKFLOW_ERROR_ADC_TIMEOUT);
    }

    if ((LCR_CaptureGetState() == LCR_CAPTURE_COMPLETE) ||
        (LCR_CaptureGetState() == LCR_CAPTURE_ERROR))
    {
      LCR_CaptureSummary summary;
      const HAL_StatusTypeDef capture_status = LCR_CaptureProcess(&summary);

      if (capture_status == HAL_OK)
      {
        LCR_DspCaptureResult dsp_result;
        LCR_ImpedanceResult measurement_result = {0};
        const bool autorange_probe =
          LCR_AutorangeIsSearching(&lcr_autorange_session);
        bool dsp_result_available = false;
        bool measurement_result_available = false;
        bool measurement_result_calibrated = false;
        bool measurement_result_eligible = false;
        bool autorange_voltage_thd_ok = false;
        bool autorange_current_thd_ok = false;

        lcr_capture_deadline_tick = 0U;

        printf("[LCR] capture complete: %lu sample pairs\r\n",
               (unsigned long)summary.sample_count);
        printf("[LCR] V ADC1/PA0: first=%u last=%u min=%u max=%u mean=%u p2p=%u rail=%lu\r\n",
               (unsigned int)summary.voltage.first,
               (unsigned int)summary.voltage.last,
               (unsigned int)summary.voltage.minimum,
               (unsigned int)summary.voltage.maximum,
               (unsigned int)summary.voltage.mean,
               (unsigned int)summary.voltage.peak_to_peak,
               (unsigned long)summary.voltage.near_rail_count);
        printf("[LCR] I ADC2/PA1: first=%u last=%u min=%u max=%u mean=%u p2p=%u rail=%lu\r\n",
               (unsigned int)summary.current.first,
               (unsigned int)summary.current.last,
               (unsigned int)summary.current.minimum,
               (unsigned int)summary.current.maximum,
               (unsigned int)summary.current.mean,
               (unsigned int)summary.current.peak_to_peak,
               (unsigned long)summary.current.near_rail_count);

        {
          LCR_ExcitationStatus dsp_excitation_status;

          LCR_ExcitationGetStatus(&dsp_excitation_status);
          if (LCR_DspAnalyzeCapture(
              dsp_excitation_status.samples_per_period,
              &dsp_result) == HAL_OK)
          {
          uint32_t voltage_thd_limit_millipercent;
          uint32_t current_thd_limit_millipercent;
          const uint32_t quality_flags = LCR_EvaluateCaptureQuality(
            &summary,
            &dsp_result,
            &voltage_thd_limit_millipercent,
            &current_thd_limit_millipercent);

          dsp_result_available = true;
          measurement_result_eligible = quality_flags == 0U;
          autorange_voltage_thd_ok =
            (quality_flags & LCR_QUALITY_VOLTAGE_THD_HIGH) == 0U;
          autorange_current_thd_ok =
            (quality_flags & LCR_QUALITY_CURRENT_THD_HIGH) == 0U;

          printf("[LCR] V H1=%lu.%03lu counts phase=%ld.%03lu deg THD2-5=%lu.%03lu%%\r\n",
                 (unsigned long)(dsp_result.voltage.bin[1].magnitude_milli_counts / 1000U),
                 (unsigned long)(dsp_result.voltage.bin[1].magnitude_milli_counts % 1000U),
                 (long)(dsp_result.voltage.bin[1].phase_millidegrees / 1000L),
                 (unsigned long)labs(dsp_result.voltage.bin[1].phase_millidegrees % 1000L),
                 (unsigned long)(dsp_result.voltage.thd_millipercent / 1000U),
                 (unsigned long)(dsp_result.voltage.thd_millipercent % 1000U));
          printf("[LCR] V harmonics: H2=%lu.%03lu%% H3=%lu.%03lu%% H4=%lu.%03lu%% H5=%lu.%03lu%%\r\n",
                 (unsigned long)(dsp_result.voltage.harmonic_ratio_millipercent[2] / 1000U),
                 (unsigned long)(dsp_result.voltage.harmonic_ratio_millipercent[2] % 1000U),
                 (unsigned long)(dsp_result.voltage.harmonic_ratio_millipercent[3] / 1000U),
                 (unsigned long)(dsp_result.voltage.harmonic_ratio_millipercent[3] % 1000U),
                 (unsigned long)(dsp_result.voltage.harmonic_ratio_millipercent[4] / 1000U),
                 (unsigned long)(dsp_result.voltage.harmonic_ratio_millipercent[4] % 1000U),
                 (unsigned long)(dsp_result.voltage.harmonic_ratio_millipercent[5] / 1000U),
                 (unsigned long)(dsp_result.voltage.harmonic_ratio_millipercent[5] % 1000U));
          LCR_PrintCaptureQuality(
            quality_flags,
            &summary,
            &dsp_result,
            voltage_thd_limit_millipercent,
            current_thd_limit_millipercent,
            autorange_probe);
          if (dsp_result.current.fundamental_valid)
          {
            LCR_ExcitationStatus excitation_status;
            LCR_RangeStatus range_status;
            LCR_ImpedanceResult impedance;
            const LCR_FeedbackNetwork *feedback;

            printf("[LCR] I H1=%lu.%03lu counts phase=%ld.%03lu deg THD2-5=%lu.%03lu%%\r\n",
                   (unsigned long)(dsp_result.current.bin[1].magnitude_milli_counts / 1000U),
                   (unsigned long)(dsp_result.current.bin[1].magnitude_milli_counts % 1000U),
                   (long)(dsp_result.current.bin[1].phase_millidegrees / 1000L),
                   (unsigned long)labs(dsp_result.current.bin[1].phase_millidegrees % 1000L),
                   (unsigned long)(dsp_result.current.thd_millipercent / 1000U),
                   (unsigned long)(dsp_result.current.thd_millipercent % 1000U));
            printf("[LCR] V-I phase=%ld.%03lu deg\r\n",
                   (long)(dsp_result.voltage_minus_current_millidegrees / 1000L),
                   (unsigned long)labs(dsp_result.voltage_minus_current_millidegrees % 1000L));

            LCR_ExcitationGetStatus(&excitation_status);
            LCR_RangeGetStatus(&range_status);
            feedback = LCR_GetFeedbackNetwork(range_status.feedback_range);
            if (LCR_ImpedanceCalculateRaw(
                  &dsp_result,
                  excitation_status.actual_frequency_hz,
                  feedback,
                  range_status.voltage_gain,
                  range_status.current_gain,
                  &impedance) == HAL_OK)
            {
              LCR_ImpedanceResult calibrated_impedance;

              measurement_result = impedance;
              measurement_result_available = true;

              printf("[LCR] raw Z: R=%ld.%03lu ohm, X=%ld.%03lu ohm, |Z|=%lu.%03lu ohm, phase=%ld.%03lu deg\r\n",
                     (long)(impedance.resistance_milliohms / 1000L),
                     (unsigned long)labs(impedance.resistance_milliohms % 1000L),
                     (long)(impedance.reactance_milliohms / 1000L),
                     (unsigned long)labs(impedance.reactance_milliohms % 1000L),
                     (unsigned long)(impedance.magnitude_milliohms / 1000U),
                     (unsigned long)(impedance.magnitude_milliohms % 1000U),
                     (long)(impedance.phase_millidegrees / 1000L),
                     (unsigned long)labs(impedance.phase_millidegrees % 1000L));

              if (LCR_CalibrationApply(
                    &impedance,
                    excitation_status.actual_frequency_hz,
                    range_status.feedback_range,
                    range_status.voltage_gain,
                    range_status.current_gain,
                    &calibrated_impedance) == HAL_OK)
              {
                measurement_result = calibrated_impedance;
                measurement_result_calibrated = true;
                printf("[LCR] calibration=EXACT_PROFILE for current frequency/range/gain\r\n");
                printf("[LCR] calibrated Z: R=%ld.%03lu ohm, X=%ld.%03lu ohm, |Z|=%lu.%03lu ohm, phase=%ld.%03lu deg\r\n",
                       (long)(calibrated_impedance.resistance_milliohms / 1000L),
                       (unsigned long)labs(calibrated_impedance.resistance_milliohms % 1000L),
                       (long)(calibrated_impedance.reactance_milliohms / 1000L),
                       (unsigned long)labs(calibrated_impedance.reactance_milliohms % 1000L),
                       (unsigned long)(calibrated_impedance.magnitude_milliohms / 1000U),
                       (unsigned long)(calibrated_impedance.magnitude_milliohms % 1000U),
                       (long)(calibrated_impedance.phase_millidegrees / 1000L),
                       (unsigned long)labs(calibrated_impedance.phase_millidegrees % 1000L));
              }
              else
              {
                printf("[LCR] calibration=UNAVAILABLE for current frequency/range/gain; result remains RAW/UNCALIBRATED\r\n");
              }
            }
            else
            {
              printf("[LCR] raw impedance calculation failed\r\n");
            }
          }
          else
          {
            printf("[LCR] I fundamental below 5 counts; phase is not valid (connect DUT)\r\n");
          }
          }
          else
          {
            printf("[LCR] DFT analysis failed\r\n");
          }
        }

        if (autorange_probe)
        {
          if (dsp_result_available)
          {
            LCR_AutorangeEvaluation evaluation;
            const HAL_StatusTypeDef autorange_status = LCR_AutorangeEvaluate(
              &lcr_autorange_session,
              &summary,
              &dsp_result,
              autorange_voltage_thd_ok,
              autorange_current_thd_ok,
              &evaluation);

            if (autorange_status == HAL_OK)
            {
              printf("[LCR] autorange probe %lu retained: V p2p=%u, I p2p=%u, averaged=no\r\n",
                     (unsigned long)lcr_autorange_session.probe_count,
                     (unsigned int)summary.voltage.peak_to_peak,
                     (unsigned int)summary.current.peak_to_peak);
              LCR_PrintAutorangeReasons(evaluation.reason_flags);
              LCR_PrintAutorangeSelection(&evaluation);

              if (evaluation.decision == LCR_AUTORANGE_RETRY)
              {
                lcr_capture_due_tick =
                  HAL_GetTick() + LCR_CAPTURE_SETTLING_TIME_MS;
                lcr_capture_scheduled = true;
                printf("[LCR] autorange retry after %u ms settling; adjustment=%lu/%u\r\n",
                       (unsigned int)LCR_CAPTURE_SETTLING_TIME_MS,
                       (unsigned long)lcr_autorange_session.adjustment_count,
                       (unsigned int)LCR_AUTORANGE_MAX_ADJUSTMENTS);
              }
              else if (evaluation.decision == LCR_AUTORANGE_ACCEPTED)
              {
                const LCR_FeedbackNetwork *locked_feedback =
                  LCR_GetFeedbackNetwork(
                    evaluation.selected_range.feedback_range);

                LCR_MeasurementBegin(&lcr_measurement_session);
                LCR_WorkflowBeginAveraging();
                lcr_capture_due_tick =
                  HAL_GetTick() + LCR_CAPTURE_SETTLING_TIME_MS;
                lcr_capture_scheduled = true;
                if (locked_feedback != NULL)
                {
                  printf("[LCR] autorange locked after %lu probes: feedback=%lu ohm, V gain=%lu, I gain=%lu\r\n",
                         (unsigned long)lcr_autorange_session.probe_count,
                         (unsigned long)locked_feedback->resistance_ohms,
                         (unsigned long)LCR_GetPgaGainValue(
                           evaluation.selected_range.voltage_gain),
                         (unsigned long)LCR_GetPgaGainValue(
                           evaluation.selected_range.current_gain));
                }
                printf("[LCR] autorange probes remain in log but are excluded; after %u ms settling, collect at least %u valid fresh samples in at most %u attempts\r\n",
                       (unsigned int)LCR_CAPTURE_SETTLING_TIME_MS,
                       (unsigned int)LCR_MEASUREMENT_MIN_VALID_COUNT,
                       (unsigned int)LCR_MEASUREMENT_MAX_ATTEMPT_COUNT);
              }
              else
              {
                const bool no_dut_or_open =
                  ((evaluation.reason_flags &
                    LCR_AUTORANGE_REASON_I_LOW) != 0U) &&
                  (((evaluation.reason_flags &
                     LCR_AUTORANGE_REASON_I_LIMIT) != 0U) ||
                   ((evaluation.reason_flags &
                     LCR_AUTORANGE_REASON_MAX_ADJUSTMENT) != 0U));

                printf("[LCR] autorange failed after %lu probes and %lu adjustments\r\n",
                       (unsigned long)lcr_autorange_session.probe_count,
                       (unsigned long)lcr_autorange_session.adjustment_count);
                LCR_FailWorkflow(
                  no_dut_or_open ?
                    LCR_WORKFLOW_ERROR_NO_DUT_OR_OPEN :
                    LCR_WORKFLOW_ERROR_AUTORANGE);
              }
            }
            else
            {
              printf("[LCR] autorange evaluation error\r\n");
              LCR_FailWorkflow(LCR_WORKFLOW_ERROR_AUTORANGE);
            }
          }
          else
          {
            printf("[LCR] autorange aborted: DFT unavailable\r\n");
            LCR_FailWorkflow(LCR_WORKFLOW_ERROR_DFT);
          }
        }
        else
        {
          (void)LCR_MeasurementRecord(
            &lcr_measurement_session,
            measurement_result_available ? &measurement_result : NULL,
            measurement_result_eligible && measurement_result_available,
            measurement_result_calibrated);
          LCR_ScheduleNextCaptureOrFinish();
        }
      }
      else
      {
        printf("[LCR] dual ADC capture failed: HAL=%u, error=0x%08lX\r\n",
               (unsigned int)capture_status,
               (unsigned long)LCR_CaptureGetLastError());
        LCR_FailWorkflow(LCR_WORKFLOW_ERROR_ADC_PROCESS);
      }
    }
  }
  /* USER CODE END 3 */
}

void SystemClock_Config(void)
{
  RCC_OscInitTypeDef RCC_OscInitStruct = {0};
  RCC_ClkInitTypeDef RCC_ClkInitStruct = {0};

  /** Configure the main internal regulator output voltage
  */
  HAL_PWREx_ControlVoltageScaling(PWR_REGULATOR_VOLTAGE_SCALE1_BOOST);

  /** Initializes the RCC Oscillators according to the specified parameters
  * in the RCC_OscInitTypeDef structure.
  */
  RCC_OscInitStruct.OscillatorType = RCC_OSCILLATORTYPE_HSI;
  RCC_OscInitStruct.HSIState = RCC_HSI_ON;
  RCC_OscInitStruct.HSICalibrationValue = RCC_HSICALIBRATION_DEFAULT;
  RCC_OscInitStruct.PLL.PLLState = RCC_PLL_ON;
  RCC_OscInitStruct.PLL.PLLSource = RCC_PLLSOURCE_HSI;
  RCC_OscInitStruct.PLL.PLLM = RCC_PLLM_DIV1;
  RCC_OscInitStruct.PLL.PLLN = 20;
  RCC_OscInitStruct.PLL.PLLP = RCC_PLLP_DIV2;
  RCC_OscInitStruct.PLL.PLLQ = RCC_PLLQ_DIV2;
  RCC_OscInitStruct.PLL.PLLR = RCC_PLLR_DIV2;
  if (HAL_RCC_OscConfig(&RCC_OscInitStruct) != HAL_OK)
  {
    Error_Handler();
  }

  /** Initializes the CPU, AHB and APB buses clocks
  */
  RCC_ClkInitStruct.ClockType = RCC_CLOCKTYPE_HCLK|RCC_CLOCKTYPE_SYSCLK
                              |RCC_CLOCKTYPE_PCLK1|RCC_CLOCKTYPE_PCLK2;
  RCC_ClkInitStruct.SYSCLKSource = RCC_SYSCLKSOURCE_PLLCLK;
  RCC_ClkInitStruct.AHBCLKDivider = RCC_SYSCLK_DIV1;
  RCC_ClkInitStruct.APB1CLKDivider = RCC_HCLK_DIV1;
  RCC_ClkInitStruct.APB2CLKDivider = RCC_HCLK_DIV1;

  if (HAL_RCC_ClockConfig(&RCC_ClkInitStruct, FLASH_LATENCY_4) != HAL_OK)
  {
    Error_Handler();
  }
}

/* USER CODE BEGIN 4 */
void BSP_PB_Callback(Button_TypeDef Button)
{
  if (Button == BUTTON_USER)
  {
    lcr_button_event = true;
  }
}

/* USER CODE END 4 */

void Error_Handler(void)
{
  __disable_irq();
  while (1)
  {
  }
}
